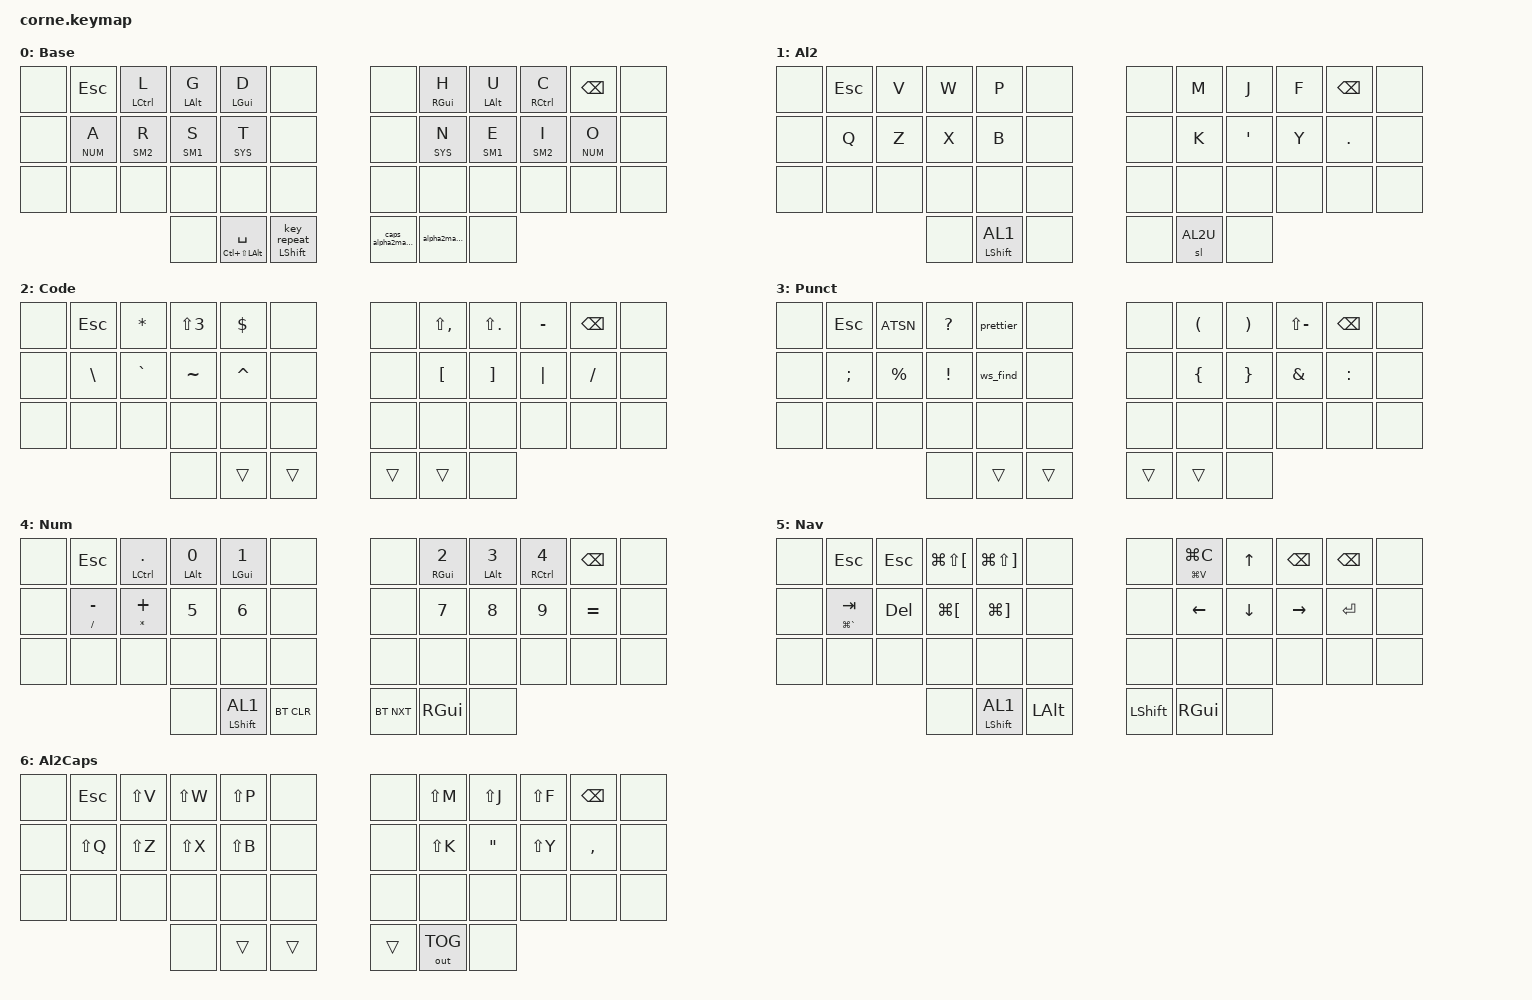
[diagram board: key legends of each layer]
/*
 * Copyright (c) 2020 The ZMK Contributors
 *
 * SPDX-License-Identifier: MIT
 */

#include <behaviors.dtsi>
#include <dt-bindings/zmk/keys.h>
#include <dt-bindings/zmk/bt.h>
#include <dt-bindings/zmk/outputs.h>

/* Layers */
#define AL1 0
#define AL2 1
#define SM1 2
#define SM2 3
#define NUM 4
#define SYS 5
#define AL2U 6

&mt {
    tapping-term-ms = <251>;
    flavor = "tap-preferred";
 };
&sk {
     release-after-ms = <2000>;
     quick-release;
 };

/ {

    combos {
        compatible = "zmk,combos";
         combo_sys {
            timeout-ms = <30>;
            key-positions = <3 4 5>;
            bindings = <&to SYS>;
        };
        combo_caps {
            timeout-ms = <30>;
            key-positions = <10 11 12>;
            bindings = <&caps_word>;
        };
        combo_num {
            timeout-ms = <30>;
            key-positions = <0 1 2>;
            bindings = <&to NUM>;
            layers = <AL1>;
        };
        lalt {
            timeout-ms = <20>;
            key-positions = <8 9>;
            bindings = <&kp LALT>;
            layers = <SYS>;
        };
    };

    behaviors {
            hm_l: homerow_mods_left {
                compatible = "zmk,behavior-hold-tap";
                label = "HOMEROW_MODS_L";
                #binding-cells = <2>;
                tapping-term-ms = <300>;
                quick-tap-ms = <250>;
                flavor = "tap-preferred";
                bindings = <&kp>, <&kp>;
                hold-trigger-key-positions = <6 7 8 9 10 11 18 19 20 21 22>; // right hand
            };
            hm_r: homerow_mods_right {
                compatible = "zmk,behavior-hold-tap";
                label = "HOMEROW_MODS_R";
                #binding-cells = <2>;
                tapping-term-ms = <300>;
                quick-tap-ms = <250>;
                flavor = "tap-preferred";
                bindings = <&kp>, <&kp>;
                hold-trigger-key-positions = <0 1 2 3 4 5 12 13 14 15 16 17>; // left hand
            };
            sr: shift_layer {
                compatible = "zmk,behavior-hold-tap";
                label = "SHIFT_LAYER";
                #binding-cells = <2>;
                tapping-term-ms = <300>;
                quick_tap_ms = <0>;
                flavor = "tap-preferred";
                bindings = <&kp>, <&to>;
                retro-tap;
            };
            hl_l: homerow_layers_left {
                compatible = "zmk,behavior-hold-tap";
                label = "HOMEROW_LAYERS_L";
                #binding-cells = <2>;
                tapping-term-ms = <220>;
                quick-tap-ms = <250>;
                flavor = "tap-preferred";
                bindings = <&mo>, <&kp>;
                hold-trigger-key-positions = <6 7 8 9 10 11 18 19 20 21 22>; // right hand
            };
            hl_r: homerow_layers_right {
                compatible = "zmk,behavior-hold-tap";
                label = "HOMEROW_LAYERS_R";
                #binding-cells = <2>;
                tapping-term-ms = <220>;
                quick-tap-ms = <250>;
                flavor = "tap-preferred";
                bindings = <&mo>, <&kp>;
                hold-trigger-key-positions = <0 1 2 3 4 5 12 13 14 15 16 17>; // left hand
            };
            td: tapdance {
                compatible = "zmk,behavior-hold-tap";
                label = "TAPDANCE";
                #binding-cells = <2>;
                tapping-term-ms = <190>;
                quick-tap-ms = <250>;
                flavor = "tap-preferred";
                bindings = <&kp>, <&kp>;
            };
            shrep: shift_repeat {
                    compatible = "zmk,behavior-hold-tap";
                    label = "SHIFT_REPEAT";
                    #binding-cells = <2>;
                    flavor = "hold-preferred";
                    tapping-term-ms = <400>;
                    quick-tap-ms = <200>;
                    bindings = <&kp>, <&key_repeat>;
                };
            alpha2macro: behavior_macro_1 {
                compatible = "zmk,behavior-macro";
                label = "MACRO1";
                #binding-cells = <0>;
                bindings = < &sl AL2 >;
            };
            caps_alpha2macro: behavior_macro_2 {
                compatible = "zmk,behavior-macro";
                label = "MACRO2";
                #binding-cells = <0>;
                bindings = < &sl AL2U >;
            };
    };

    macros {
        ws_find: ws_find {
            compatible = "zmk,behavior-macro";
            label = "ws_find_macro";
            #binding-cells = <0>;
            bindings =
                <&macro_tap>,
                <&kp LEFT_SHIFT &kp LEFT_SHIFT>;
        };
        prettier: prettier {
            compatible = "zmk,behavior-macro";
            label = "prettier_macro";
            #binding-cells = <0>;
            bindings =
                <&macro_press>,
                <&kp LEFT_CONTROL &kp LEFT_ALT &kp O>,
                <&macro_release>,
                <&kp LEFT_CONTROL &kp LEFT_ALT &kp O>,
                <&macro_press>,
                <&kp LEFT_COMMAND &kp LEFT_SHIFT &kp LEFT_ALT &kp P>,
                <&macro_release>,
                <&kp LEFT_COMMAND &kp LEFT_SHIFT &kp LEFT_ALT &kp P>;
        };
    };

   // -----------------------------------------------------------------------------------------
   // |  0 |   1  |  2   |   3  |   4  |   5  |       |  6   |  7  |  8   |  9   |  10  | 11 |
   // | 12 |  13  |  14  |  15  |  16  |  17  |       |  18  |  19 |  20  |  21  |  22  | 23 |
   // | 24 |  25  |  26  |  27  |  28  |  29  |       |  30  | 31  |  32  |  33  |  34  | 35 |
   //                    | 36   | 37   |   38 |       |   39 | 40  |   41 |
    
    keymap {
         compatible = "zmk,keymap";

         AL1 {
         label = "Base";
                        bindings = <
   &none  &kp ESC  &hm_l LCTL L &hm_l LALT G &hm_l LGUI D  &none                                &none   &hm_r RGUI H  &hm_r LALT U  &hm_r RCTL C  &kp BSPC  &none
   &none  &hl_l NUM A  &hl_l SM2 R  &hl_l SM1 S  &hl_l SYS T  &none                             &none   &hl_r SYS N  &hl_r SM1 E  &hl_r SM2 I  &hl_r NUM O  &none
   &none  &none   &none   &none   &none   &none                                                 &none   &none   &none   &none  &none  &none 
   &none  &mt LC(LS(LALT)) SPC  &shrep LSHIFT 0                                                 &caps_alpha2macro  &alpha2macro &none
                        >;
                };

          AL2 {
          label = "Al2";
                         bindings = <
    &none  &kp ESC  &kp V  &kp W   &kp P   &none                                 &none   &kp M   &kp J   &kp F &kp BSPC   &none
    &none  &kp Q  &kp Z &kp X     &kp B    &none                                 &none   &kp K   &kp SQT &kp Y   &kp DOT  &none
    &none  &none   &none   &none   &none   &none                                 &none   &none   &none   &none  &none  &none
    &none  &sr LSHIFT AL1      &none                                             &none    &sl AL2U  &none
                         >;
               };
                
         SM1 {
         label = "Code";
                        bindings = <
   &none  &kp ESC   &kp STAR     &kp LS(N3)  &kp DLLR  &none                                 &none   &kp LS(COMMA)  &kp LS(DOT)  &kp MINUS  &kp BSPC   &none
   &none  &kp BSLH   &kp GRAVE    &kp TILDE   &kp CARET  &none                               &none   &kp LBKT       &kp RBKT     &kp PIPE   &kp SLASH  &none
   &none  &none   &none   &none   &none   &none                                              &none   &none          &none        &none      &none      &none
   &none  &trans      &trans                                                                 &trans  &trans  &none
                        >;
                };
        
         SM2 {
         label = "Punct";
                        bindings = <
   &none  &kp ESC    &kp ATSN    &kp QMARK   &prettier    &none                                 &none   &kp LPRN    &kp RPRN  &kp LS(MINUS)  &kp BSPC   &none
   &none  &kp SEMI    &kp PRCNT   &kp EXCL     &ws_find   &none                                 &none   &kp LBRC    &kp RBRC    &kp AMPS    &kp COLON    &none
   &none  &none   &none   &none   &none   &none                                                 &none   &none   &none   &none  &none  &none
   &none  &trans  &trans                                                                        &trans &trans &none
                        >;
                };
                
         NUM {
         label = "Num";
                        bindings = <
   &none  &kp ESC  &hm_l LCTL DOT &hm_l LALT N0   &hm_l LGUI N1  &none                           &none   &hm_r RGUI N2   &hm_r LALT N3    &hm_r RCTL N4  &kp BSPC   &none
   &none  &td SLASH MINUS   &td STAR PLUS  &kp N5    &kp N6   &none                              &none   &kp N7   &kp N8    &kp N9  &kp EQUAL  &none
   &none  &none   &none   &none   &none   &none                                                  &none   &none   &none   &none  &none  &none
   &none  &sr LSHIFT AL1  &bt BT_CLR                                                             &bt BT_NXT &kp RGUI &none
                        >;
                };

         SYS {
         label = "Nav";
                        bindings = <
   &none  &kp ESC &kp ESC &kp LG(LS(LBKT)) &kp LG(LS(RBKT))  &none                                 &none   &mt LG(V) LG(C)  &kp UP    &kp BKSP  &kp BSPC   &none
   &none  &td LG(GRAVE) TAB   &kp DEL &kp LG(LBKT) &kp LG(RBKT)  &none                              &none   &kp LEFT         &kp DOWN  &kp RIGHT   &kp RET  &none
   &none  &none   &none   &none   &none   &none                                                    &none   &none   &none   &none  &none  &none
   &none  &sr LSHIFT AL1      &kp LALT                                                             &kp LSHIFT  &kp RGUI &none
                        >;
                };

        AL2U {
        label = "Al2Caps";
                        bindings = <
   &none  &kp ESC  &kp LS(V) &kp LS(W) &kp LS(P)  &none                                         &none   &kp LS(M)   &kp LS(J)    &kp LS(F)   &kp BSPC   &none
   &none  &kp LS(Q)   &kp LS(Z)   &kp LS(X)   &kp LS(B)   &none                                 &none   &kp LS(K)   &kp DQT      &kp LS(Y)   &kp COMMA  &none
   &none  &none   &none   &none   &none   &none                                                 &none   &none   &none   &none  &none  &none
   &none  &trans  &trans                                                                        &trans &out OUT_TOG &none
                        >;
                };
        };
};
